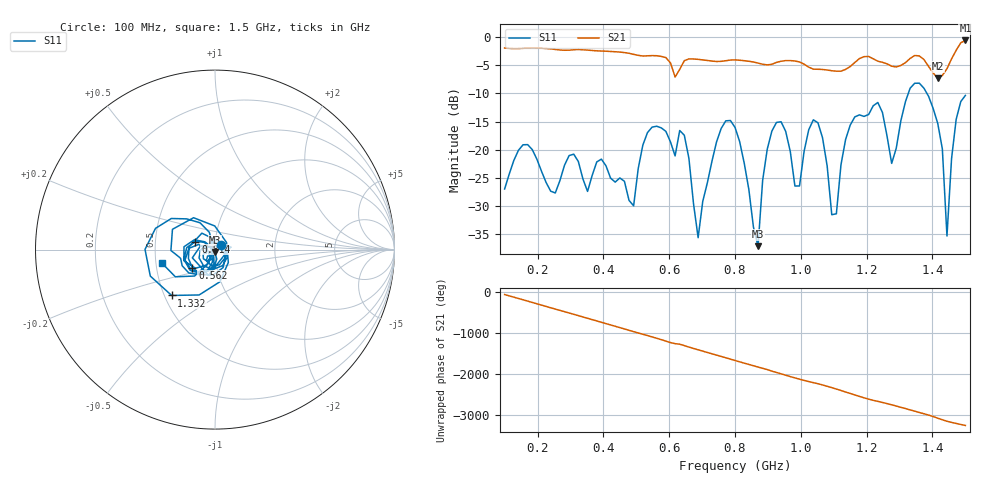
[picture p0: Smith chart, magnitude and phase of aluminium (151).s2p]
! NanoVNA-App
! Date: 2025-09-25 14:56:27
! Start: 100MHz Stop: 1,5GHz Points: 101
! S-Parameter data: F S11 S21 S12 S22
# Hz S RI R 50
!  Frequency  S11_Real  S11_Imag  S21_Real  S21_Imag  S12_Real  S12_Imag  S22_Real  S22_Imag
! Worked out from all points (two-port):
!   101 points, 100 MHz to 1.5 GHz, reference 50 ohm
!   highest |S21| = -0.58 dB at 1.5 GHz (marker M1); lowest = -7.3 dB at 1.416 GHz (marker M2)
!   |S21| within 3 dB of the highest: start of sweep to 587.1 MHz; 1.461 GHz to end of sweep (the widest 2 of 4)
!   lowest |S11| = -37.2 dB at 870 MHz (marker M3), VSWR 1.03, Z = 49.8 - j1.37 ohm
!   |S11| at or under -10 dB: start of sweep to 1.327 GHz; 1.383 GHz to end of sweep
!   S12 and S22 are empty: the file has one direction only
!   S11 on the Smith chart (normalised r, x): 100 MHz: 1.07, +0.06; 562 MHz: 0.76, -0.16; 814 MHz: 0.80, +0.07; 1.332 GHz: 0.55, -0.32; 1.5 GHz: 0.54, -0.09
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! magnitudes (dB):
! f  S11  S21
! 100 MHz  -27.0  -1.9
! 338 MHz  -25.2  -2.2
! 492 MHz  -30.0  -3.1
! 562 MHz  -15.8  -3.3
! 576 MHz  -16.1  -3.4
! 646 MHz  -17.4  -4.2
! 688 MHz  -35.7  -3.9
! 800 MHz  -16.0  -4.0
! 814 MHz  -18.5  -4.1
! 870 MHz  -37.2  -4.6
! 912 MHz  -16.7  -4.8
! 996 MHz  -26.5  -4.4
! 1.038 GHz  -14.7  -5.7
! 1.094 GHz  -31.6  -6.0
! 1.164 GHz  -14.2  -4.5
! 1.234 GHz  -11.6  -4.3
! 1.276 GHz  -22.4  -5.2
! 1.332 GHz  -9.1  -3.8
! 1.416 GHz  -15.3  -7.3
! 1.444 GHz  -35.4  -5.6
! 1.472 GHz  -14.6  -2.3
! 1.5 GHz  -10.4  -0.6
